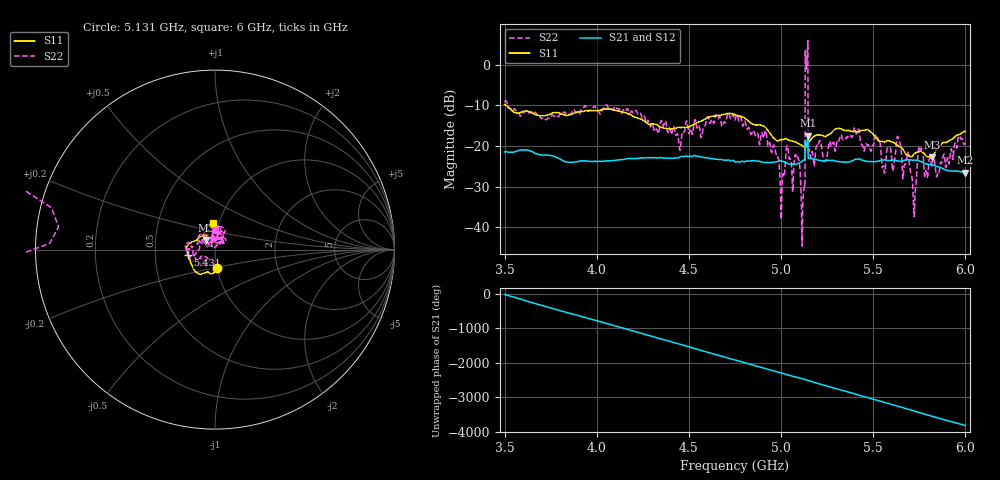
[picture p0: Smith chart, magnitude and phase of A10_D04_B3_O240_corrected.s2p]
! Created with skrf 1.9.0 (http://scikit-rf.org).
# Hz S RI R 50.0
!freq ReS11 ImS11 ReS21 ImS21 ReS12 ImS12 ReS22 ImS22
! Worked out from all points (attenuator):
!   1601 points, 3.5 GHz to 6 GHz, reference 50 ohm
!   highest |S21| = -17.49 dB at 5.145 GHz (marker M1); lowest = -26.6 dB at 5.997 GHz (marker M2)
!   lowest |S11| = -22.8 dB at 5.817 GHz (marker M3), VSWR 1.16, Z = 45.1 + j4.89 ohm
!   |S11| at or under -10 dB: 3.509 GHz to end of sweep
!   |S22| runs from -44.7 to 5.9 dB; largest |S21 - S12| = 0.0013
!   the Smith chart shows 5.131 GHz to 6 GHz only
!   S11 on the Smith chart (normalised r, x): 5.131 GHz: 1.00, -0.21; 5.431 GHz: 0.74, -0.05; 6 GHz: 0.93, +0.29
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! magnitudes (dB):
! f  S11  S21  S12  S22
! 3.5 GHz  -9.8  -21.5  -21.5  -9.2
! 3.917 GHz  -11.6  -23.7  -23.7  -10.9
! 4.334 GHz  -15.1  -23.0  -22.9  -16.9
! 4.75 GHz  -12.4  -23.9  -23.8  -13.6
! 4.911 GHz  -15.3  -24.1  -24.0  -16.9
! 5.005 GHz  -18.4  -23.7  -23.7  -30.6
! 5.034 GHz  -18.4  -24.3  -24.3  -20.1
! 5.086 GHz  -19.2  -24.4  -24.4  -23.1
! 5.117 GHz  -20.0  -23.7  -23.6  -35.3
! 5.131 GHz  -19.8  -18.9  -18.8  3.5
! 5.145 GHz  -19.3  -17.5  -17.4  5.9
! 5.167 GHz  -18.1  -23.1  -23.1  -21.4
! 5.431 GHz  -16.3  -23.4  -23.3  -19.2
! 5.523 GHz  -18.5  -23.8  -23.8  -18.3
! 5.556 GHz  -19.0  -23.5  -23.4  -24.9
! 5.584 GHz  -18.7  -23.6  -23.5  -20.5
! 5.639 GHz  -20.1  -23.8  -23.7  -18.4
! 5.722 GHz  -21.9  -23.5  -23.4  -37.4
! 5.755 GHz  -21.4  -23.8  -23.7  -20.9
! 5.817 GHz  -22.8  -24.7  -24.6  -24.9
! 5.997 GHz  -16.5  -26.6  -26.5  -19.5
! 6 GHz  -16.5  -26.6  -26.5  -19.3
